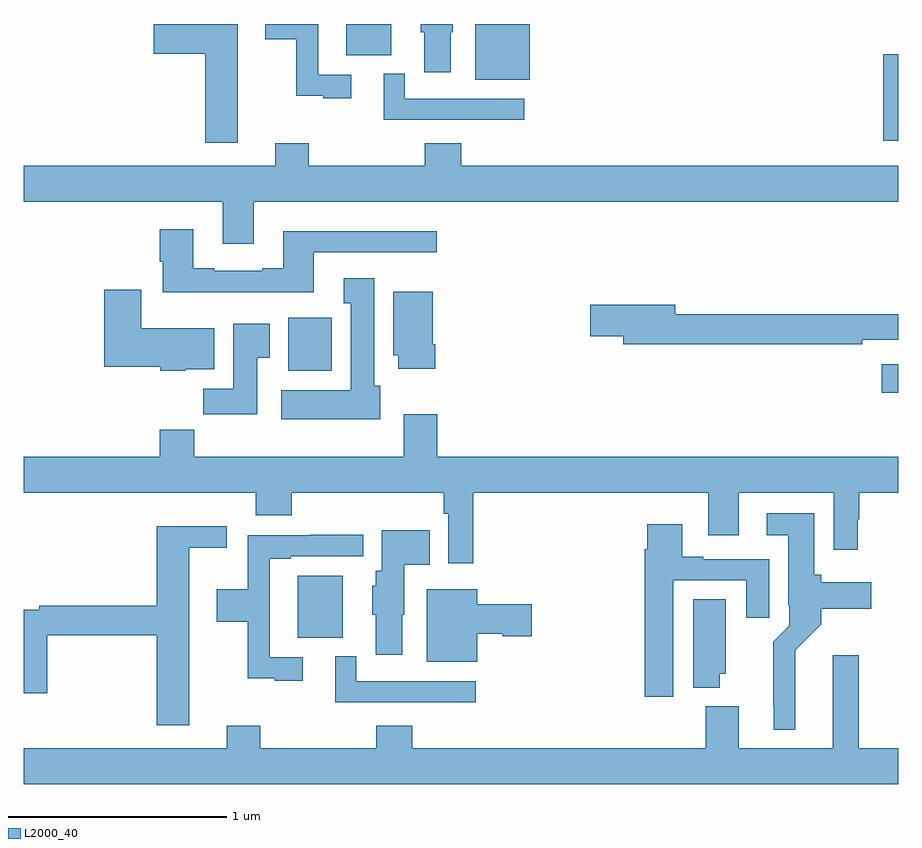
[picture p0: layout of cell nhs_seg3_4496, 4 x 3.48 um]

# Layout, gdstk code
import gdstk
lib = gdstk.Library(unit=1e-6, precision=1e-09)
def R(c, l, rs):  # rectangles x0, y0, x1, y1
    for r in rs: c.add(gdstk.rectangle(r[:2], r[2:], *l))
def P(c, l, *ps):  # polygons
    for p in ps: c.add(gdstk.Polygon(p, *l))
L2000_40 = (2000, 40)

nhs_seg3_4496 = lib.new_cell('nhs_seg3_4496')
R(nhs_seg3_4496, L2000_40, [(352.253,693.593,352.459,693.877), (354.924,694.714,355,694.843), (352.211,694.814,352.408,695.056), (354.932,695.867,355,696.262), (353.066,696.146,353.314,696.4), (352.475,696.257,352.681,696.4)])
P(nhs_seg3_4496, L2000_40, [(351.979,696.4),(351.594,696.4),(351.594,696.263),(351.83,696.263),(351.83,695.856),(351.979,695.856)],
  [(352.498,696.168),(352.347,696.168),(352.347,696.4),(352.104,696.4),(352.104,696.331),(352.246,696.331),(352.246,696.071),(352.37,696.071),(352.37,696.06),(352.498,696.06)],
  [(352.954,696.363),(352.963,696.363),(352.963,696.4),(352.817,696.4),(352.817,696.363),(352.832,696.363),(352.832,696.18),(352.954,696.18)],
  [(353.29,696.057),(352.743,696.057),(352.743,696.172),(352.646,696.172),(352.646,695.961),(353.29,695.961)],
  [(352.835,695.854),(352.835,695.752),(352.304,695.752),(352.304,695.854),(352.151,695.854),(352.151,695.752),(351,695.752),(351,695.588),(351.911,695.588),(351.911,695.394),(352.051,695.394),(352.051,695.588),(355,695.588),(355,695.752),(353,695.752),(353,695.854)],
  [(352.327,695.355),(352.888,695.355),(352.888,695.452),(352.187,695.452),(352.187,695.284),(352.091,695.284),(352.091,695.271),(351.871,695.271),(351.871,695.284),(351.775,695.284),(351.775,695.461),(351.623,695.461),(351.623,695.313),(351.635,695.313),(351.635,695.174),(352.327,695.174)],
  [(352.63,694.746),(352.603,694.746),(352.603,695.236),(352.463,695.236),(352.463,695.123),(352.496,695.123),(352.496,694.726),(352.179,694.726),(352.179,694.592),(352.63,694.592)],
  [(351.738,694.82),(351.871,694.82),(351.871,695.008),(351.538,695.008),(351.538,695.185),(351.368,695.185),(351.368,694.832),(351.624,694.832),(351.624,694.814),(351.738,694.814)],
  [(352.883,694.936),(352.87,694.936),(352.87,695.176),(352.691,695.176),(352.691,694.884),(352.712,694.884),(352.712,694.824),(352.883,694.824)],
  [(354.836,694.956),(355,694.956),(355,695.072),(353.98,695.072),(353.98,695.115),(353.592,695.115),(353.592,694.973),(353.741,694.973),(353.741,694.936),(354.836,694.936)],
  [(352.069,694.873),(352.126,694.873),(352.126,695.029),(351.959,695.029),(351.959,694.732),(351.82,694.732),(351.82,694.614),(352.069,694.614)],
  [(353.057,694.256),(354.131,694.256),(354.131,694.062),(354.271,694.062),(354.271,694.256),(354.705,694.256),(354.705,693.996),(354.814,693.996),(354.814,694.134),(354.821,694.134),(354.821,694.256),(355,694.256),(355,694.42),(352.892,694.42),(352.892,694.615),(352.739,694.615),(352.739,694.42),(351.779,694.42),(351.779,694.544),(351.623,694.544),(351.623,694.42),(351,694.42),(351,694.256),(352.061,694.256),(352.061,694.154),(352.226,694.154),(352.226,694.256),(352.921,694.256),(352.921,694.16),(352.941,694.16),(352.941,693.933),(353.057,693.933)],
  [(354.529,693.536),(354.647,693.654),(354.647,693.725),(354.877,693.725),(354.877,693.847),(354.647,693.847),(354.647,693.882),(354.616,693.882),(354.616,694.162),(354.399,694.162),(354.399,694.061),(354.497,694.061),(354.497,693.742),(354.501,693.742),(354.501,693.648),(354.427,693.574),(354.427,693.283),(354.431,693.283),(354.431,693.173),(354.529,693.173)],
  [(353.971,693.855),(354.305,693.855),(354.305,693.684),(354.409,693.684),(354.409,693.951),(354.109,693.951),(354.109,693.964),(354.013,693.964),(354.013,694.111),(353.852,694.111),(353.852,693.998),(353.84,693.998),(353.84,693.324),(353.971,693.324)],
  [(351.757,694.004),(351.928,694.004),(351.928,694.102),(351.608,694.102),(351.608,693.74),(351.07,693.74),(351.07,693.72),(351,693.72),(351,693.339),(351.107,693.339),(351.107,693.604),(351.608,693.604),(351.608,693.192),(351.757,693.192)],
  [(352.732,693.699),(352.741,693.699),(352.741,693.926),(352.856,693.926),(352.856,694.084),(352.637,694.084),(352.637,693.9),(352.61,693.9),(352.61,693.831),(352.595,693.831),(352.595,693.699),(352.61,693.699),(352.61,693.516),(352.732,693.516)],
  [(352.276,693.504),(352.125,693.504),(352.125,693.954),(352.222,693.954),(352.222,693.966),(352.552,693.966),(352.552,694.064),(352.309,694.064),(352.309,694.062),(352.024,694.062),(352.024,693.814),(351.882,693.814),(351.882,693.667),(352.024,693.667),(352.024,693.407),(352.148,693.407),(352.148,693.396),(352.276,693.396)],
  [(353.074,693.611),(353.19,693.611),(353.19,693.599),(353.323,693.599),(353.323,693.746),(353.074,693.746),(353.074,693.814),(352.844,693.814),(352.844,693.482),(353.074,693.482)],
  [(354.184,693.429),(354.211,693.429),(354.211,693.77),(354.062,693.77),(354.062,693.365),(354.184,693.365)],
  [(355,693.088),(354.819,693.088),(354.819,693.514),(354.701,693.514),(354.701,693.088),(354.271,693.088),(354.271,693.28),(354.119,693.28),(354.119,693.088),(352.778,693.088),(352.778,693.19),(352.613,693.19),(352.613,693.088),(352.082,693.088),(352.082,693.19),(351.929,693.19),(351.929,693.088),(351,693.088),(351,692.924),(355,692.924)],
  [(353.068,693.393),(352.521,693.393),(352.521,693.508),(352.424,693.508),(352.424,693.297),(353.068,693.297)])

lib.write_gds('nhs_seg3_4496.gds')
